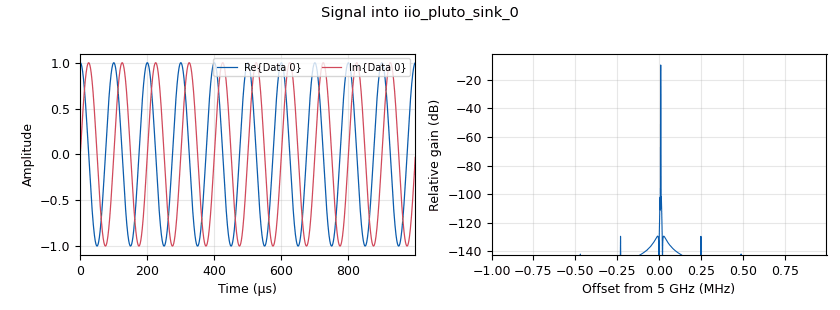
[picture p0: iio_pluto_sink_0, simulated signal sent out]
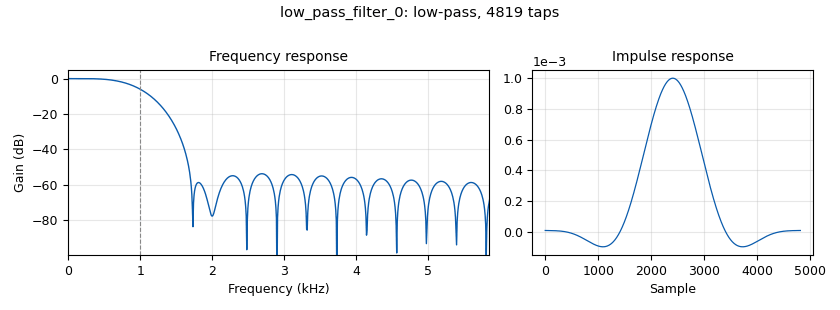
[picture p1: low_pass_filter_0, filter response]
options:
  parameters:
    generate_options: qt_gui
    id: Yee_Taylor_ECE531_Lab8
    output_language: python
    title: Yee_Taylor_ECE531_Lab8
  states: {}

blocks:
- name: decim_val
  id: variable
  parameters:
    value: '2048'
  states: {}
- name: fft_size
  id: variable
  parameters:
    value: '512'
  states: {}
- name: freq
  id: variable
  parameters:
    value: '5000000000'
  states: {}
- name: rf_bw
  id: variable
  parameters:
    value: '5000000'
  states: {}
- name: samp_rate
  id: variable
  parameters:
    value: 2e6
  states: {}
- name: analog_agc_xx_0
  id: analog_agc_xx
  parameters:
    gain: '1.0'
    max_gain: '65536'
    rate: '1e-4'
    reference: '1.0'
    type: complex
  states: {}
- name: analog_agc_xx_1
  id: analog_agc_xx
  parameters:
    gain: '1.0'
    max_gain: '65536'
    rate: '1e-4'
    reference: '1.0'
    type: complex
  states: {}
- name: analog_sig_source_x_0
  id: analog_sig_source_x
  parameters:
    amp: '1'
    freq: '10000'
    offset: '0'
    phase: '0'
    samp_rate: samp_rate
    type: complex
    waveform: analog.GR_COS_WAVE
  states: {}
- name: blocks_multiply_conjugate_cc_0
  id: blocks_multiply_conjugate_cc
  parameters: {}
  states: {}
- name: dc_blocker_xx_0
  id: dc_blocker_xx
  parameters:
    length: '32'
    long_form: 'True'
    type: cc
  states: {state: disabled}
- name: iio_pluto_sink_0
  id: iio_pluto_sink
  parameters:
    attenuation1: '20.0'
    bandwidth: rf_bw
    buffer_size: '32768'
    cyclic: 'False'
    filter_source: '''Auto'''
    frequency: freq
    samplerate: samp_rate
    type: fc32
    uri: usb:2.2.5
  states: {}
- name: iio_pluto_source_0
  id: iio_pluto_source
  parameters:
    bandwidth: rf_bw
    bbdc: 'True'
    buffer_size: '32768'
    filter_source: '''Auto'''
    frequency: freq
    gain1: '''slow_attack'''
    quadrature: 'True'
    rfdc: 'True'
    samplerate: samp_rate
    type: fc32
    uri: usb:2.2.5
  states: {}
- name: low_pass_filter_0
  id: low_pass_filter
  parameters:
    cutoff_freq: 1e3
    decim: decim_val
    gain: '1'
    samp_rate: samp_rate
    type: fir_filter_ccf
    width: 1e3
    win: window.WIN_HAMMING
  states: {}
- name: qtgui_waterfall_sink_x_0
  id: qtgui_waterfall_sink_x
  parameters:
    bw: '976'
    fc: '0'
    fftsize: fft_size
    type: complex
  states: {}

connections:
- [analog_agc_xx_0, '0', blocks_multiply_conjugate_cc_0, '1']
- [analog_agc_xx_1, '0', blocks_multiply_conjugate_cc_0, '0']
- [analog_sig_source_x_0, '0', analog_agc_xx_1, '0']
- [analog_sig_source_x_0, '0', iio_pluto_sink_0, '0']
- [blocks_multiply_conjugate_cc_0, '0', low_pass_filter_0, '0']
- [dc_blocker_xx_0, '0', qtgui_waterfall_sink_x_0, '0']
- [iio_pluto_source_0, '0', analog_agc_xx_0, '0']
- [low_pass_filter_0, '0', dc_blocker_xx_0, '0']
- [low_pass_filter_0, '0', qtgui_waterfall_sink_x_0, '0']

metadata:
  file_format: 1
